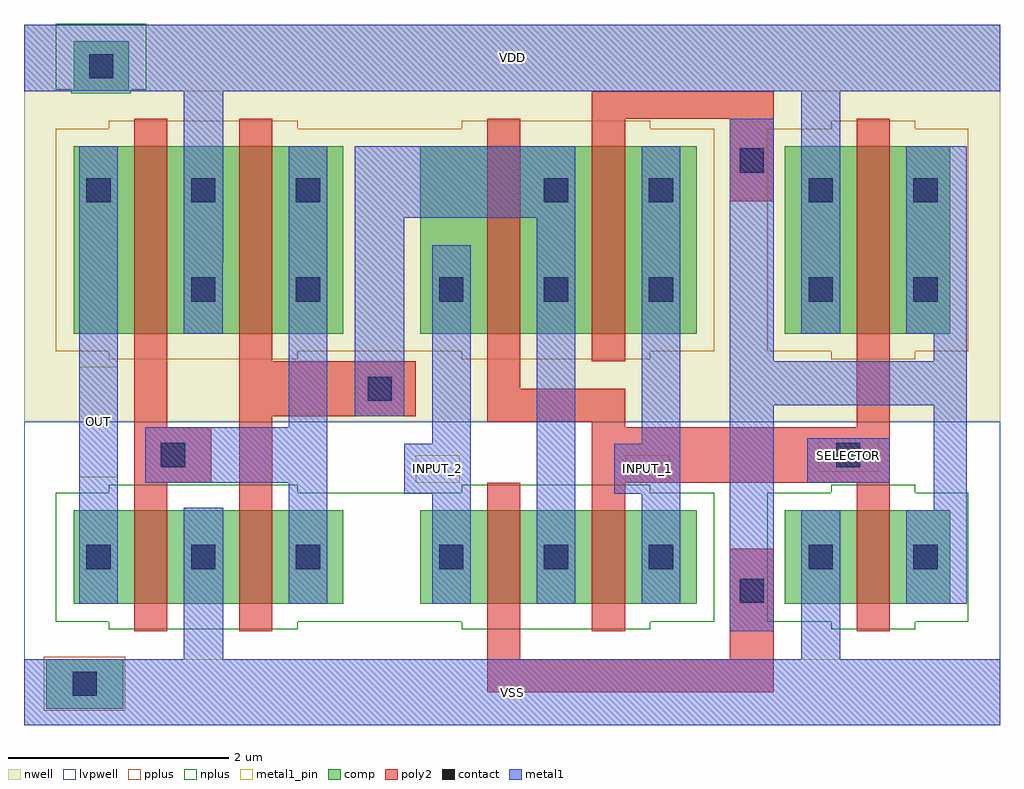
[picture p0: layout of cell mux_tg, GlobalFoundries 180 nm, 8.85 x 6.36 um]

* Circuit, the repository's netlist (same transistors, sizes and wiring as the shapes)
* NGSPICE file created from /foss/designs/voidwalkers-scandff-gf180mcu/designs/layout/mux_tg.ext - technology: gf180mcuD

.subckt mux_tg OUT SELECTOR VDD VSS INPUT_2 INPUT_1
X0 VDD a_n60_n80# OUT VDD pfet_03v3 ad=0.5525p pd=2.35u as=0.935p ps=4.5u w=1.7u l=0.3u
X1 a_580_n190# SELECTOR VDD VDD pfet_03v3 ad=0.935p pd=4.5u as=1.105p ps=4.7u w=1.7u l=0.3u
X2 a_n60_n80# a_130_n80# VSS VSS nfet_03v3 ad=0.54825p pd=2.99u as=0.27625p ps=1.5u w=0.85u l=0.3u
X3 a_130_n80# SELECTOR INPUT_2 VDD pfet_03v3 ad=0.5525p pd=2.35u as=1.0285p ps=4.61u w=1.7u l=0.3u
X4 INPUT_1 SELECTOR a_130_n80# VSS nfet_03v3 ad=0.5525p pd=3u as=0.27625p ps=1.5u w=0.85u l=0.3u
X5 a_580_n190# SELECTOR VSS VSS nfet_03v3 ad=0.4675p pd=2.8u as=0.5525p ps=3u w=0.85u l=0.3u
X6 VSS a_n60_n80# OUT VSS nfet_03v3 ad=0.27625p pd=1.5u as=0.4675p ps=2.8u w=0.85u l=0.3u
X7 a_130_n80# a_580_n190# INPUT_2 VSS nfet_03v3 ad=0.27625p pd=1.5u as=0.51425p ps=2.91u w=0.85u l=0.3u
X8 a_n60_n80# a_130_n80# VDD VDD pfet_03v3 ad=1.0965p pd=4.69u as=0.5525p ps=2.35u w=1.7u l=0.3u
X9 INPUT_1 a_580_n190# a_130_n80# VDD pfet_03v3 ad=1.105p pd=4.7u as=0.5525p ps=2.35u w=1.7u l=0.3u
.ends

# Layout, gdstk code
import gdstk
lib = gdstk.Library(unit=1e-6, precision=1e-09)
def R(c, l, rs):  # rectangles x0, y0, x1, y1
    for r in rs: c.add(gdstk.rectangle(r[:2], r[2:], *l))
def A(c, l, x, y, w, h, nx, ny, dx, dy):  # array of equal rectangles
    R(c, l, [(x+i*dx, y+j*dy, x+i*dx+w, y+j*dy+h) for i in range(nx) for j in range(ny)])
nwell = (21, 0)
comp = (22, 0)
poly2 = (30, 0)
pplus = (31, 0)
nplus = (32, 0)
contact = (33, 0)
metal1 = (34, 0)
metal1_pin = (34, 10)
lvpwell = (204, 0)

mux_tg = lib.new_cell('mux_tg')
R(mux_tg, nwell, [(-1.3,1.5,7.55,5.1)])
R(mux_tg, comp, [(-1.1,-1.1,-0.4,-0.65), (-0.85,-0.15,1.595,0.7), (2.295,-0.15,4.8,0.7), (5.6,-0.15,7.1,0.7), (-0.85,2.3,1.595,4), (2.295,2.3,4.8,4), (5.6,2.3,7.1,4), (-0.85,4.5,-0.35,4.95)])
R(mux_tg, poly2, [(2.9,-0.95,5.5,-0.65), (2.9,-0.65,3.2,0.95), (5.1,-0.65,5.5,0.35), (-0.3,-0.4,0,0.95), (0.65,-0.4,0.95,1.55), (3.85,-0.4,4.15,0.95), (6.25,-0.4,6.55,0.95), (-0.3,0.95,0.4,1.45), (3.85,0.95,6.55,1.45), (-0.3,1.45,0,4.25), (3.85,1.45,4.15,1.5), (6.25,1.45,6.55,4.25), (2.9,1.5,4.15,1.8), (0.65,1.55,2.25,2.05), (2.9,1.8,3.2,4.25), (0.65,2.05,0.95,4.25), (3.85,2.05,4.15,4.25), (5.1,3.5,5.5,4.25), (3.85,4.25,5.5,4.5)])
R(mux_tg, pplus, [(-1.12,-1.12,-0.38,-0.63), (-0.53,2.07,1.18,2.14), (2.67,2.07,4.38,2.14), (6.02,2.07,6.78,2.14), (-1.01,2.14,4.96,4.16), (5.44,2.14,7.26,4.16), (-0.53,4.16,1.18,4.23), (2.67,4.16,4.38,4.23), (6.02,4.16,6.78,4.23)])
R(mux_tg, nplus, [(-0.53,-0.38,1.18,-0.31), (2.67,-0.38,4.38,-0.31), (6.02,-0.38,6.78,-0.31), (-1.01,-0.31,4.96,0.86), (5.44,-0.31,7.26,0.86), (-0.53,0.86,1.18,0.93), (2.67,0.86,4.38,0.93), (6.02,0.86,6.78,0.93), (-0.87,4.48,-0.33,4.51), (-1.01,4.51,-0.19,5.11)])
A(mux_tg, contact, -0.735, 0.165, 0.22, 0.22, 3, 2, 0.95, 3.325)
A(mux_tg, contact, 2.465, 0.165, 0.22, 0.22, 3, 2, 0.95, 2.425)
R(mux_tg, contact, [(-0.86,-0.985,-0.64,-0.765), (5.19,-0.14,5.41,0.08), (5.815,0.165,6.035,0.385), (6.765,0.165,6.985,0.385), (-0.06,1.09,0.16,1.31), (6.065,1.09,6.285,1.31), (1.815,1.69,2.035,1.91), (0.215,2.59,0.435,2.81), (1.165,2.59,1.385,2.81), (5.815,2.59,6.035,2.81), (6.765,2.59,6.985,2.81), (3.415,3.49,3.635,3.71), (4.365,3.49,4.585,3.71), (5.815,3.49,6.035,3.71), (6.765,3.49,6.985,3.71), (5.19,3.76,5.41,3.98), (-0.71,4.615,-0.49,4.835)])
R(mux_tg, metal1, [(-1.3,-1.25,7.55,-0.65), (0.15,-0.65,0.505,0.72), (5.75,-0.65,6.1,0.7), (5.1,-0.4,5.5,1.65), (-0.8,-0.15,-0.45,4), (1.1,-0.15,1.45,0.95), (2.4,-0.15,2.75,0.85), (3.35,-0.15,3.7,3.35), (4.3,-0.15,4.65,0.85), (6.7,-0.15,7.25,0.7), (6.95,0.7,7.25,1.65), (2.15,0.85,2.75,1.3), (4.05,0.85,4.65,1.3), (-0.2,0.95,1.45,1.45), (5.8,0.95,6.55,1.35), (2.4,1.3,2.75,3.1), (4.3,1.3,4.65,4), (1.1,1.45,1.45,4), (1.7,1.55,2.15,3.35), (5.1,1.65,7.25,2.05), (5.1,2.05,5.5,4.25), (6.95,2.05,7.25,2.3), (0.15,2.3,0.5,2.95), (5.75,2.3,6.1,4.5), (6.7,2.3,7.25,4), (0.15,2.95,0.505,4.5), (1.7,3.35,3.7,4), (-1.3,4.5,7.55,5.1)])
R(mux_tg, metal1_pin, [(-1.3,-1.25,7.55,-0.65), (2.25,0.95,2.65,1.2), (4.15,0.95,4.55,1.2), (-0.8,1,-0.45,2), (5.9,1.05,6.45,1.35), (-1.3,4.5,7.55,5.1)])
R(mux_tg, lvpwell, [(-1.3,-1.25,7.55,1.5)])
mux_tg.add(gdstk.Label('OUT', (-0.625,1.5), layer=34, texttype=10))
mux_tg.add(gdstk.Label('SELECTOR', (6.175,1.2), layer=34, texttype=10))
mux_tg.add(gdstk.Label('VDD', (3.125,4.8), layer=34, texttype=10))
mux_tg.add(gdstk.Label('VSS', (3.125,-0.95), layer=34, texttype=10))
mux_tg.add(gdstk.Label('INPUT_2', (2.45,1.075), layer=34, texttype=10))
mux_tg.add(gdstk.Label('INPUT_1', (4.35,1.075), layer=34, texttype=10))

lib.write_gds('mux_tg.gds')
